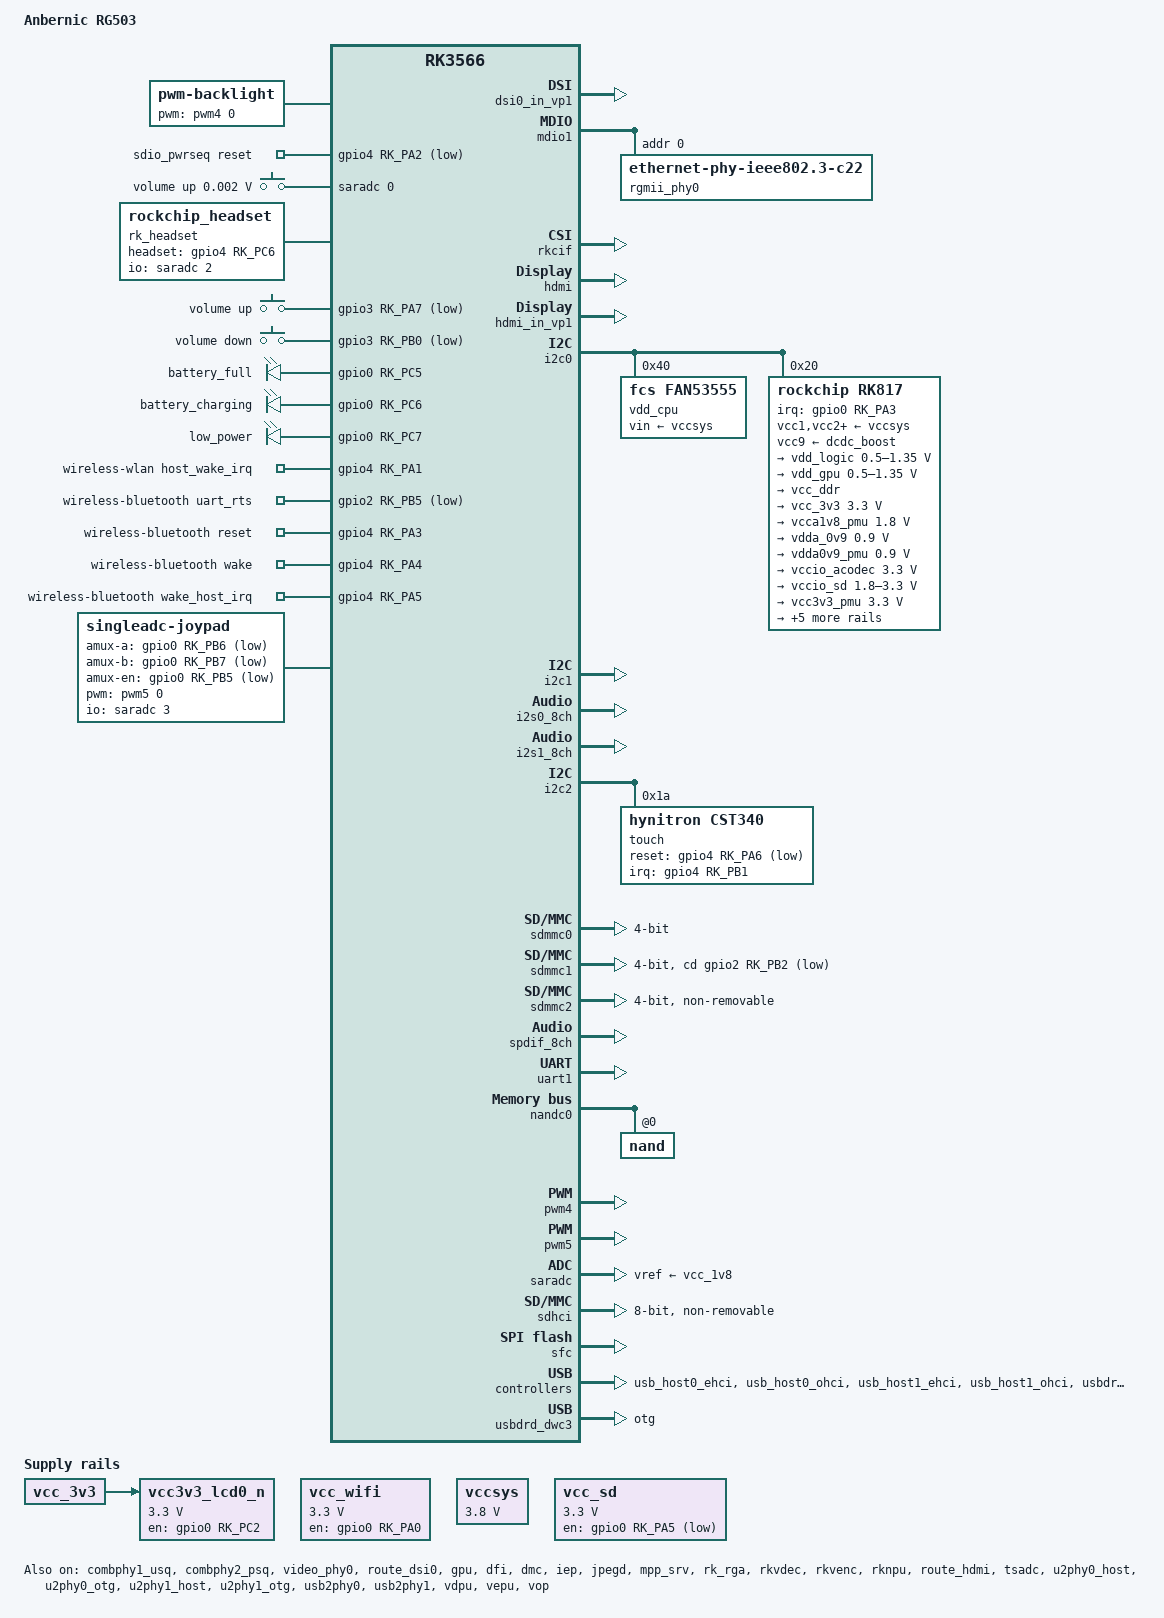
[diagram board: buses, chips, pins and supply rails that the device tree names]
// SPDX-License-Identifier: (GPL-2.0+ OR MIT)
/*
 * Copyright (c) 2020 Rockchip Electronics Co., Ltd.
 *
 */

/dts-v1/;
#include <dt-bindings/pwm/pwm.h>
#include <dt-bindings/input/rk-input.h>
#include <dt-bindings/display/drm_mipi_dsi.h>
#include <dt-bindings/sensor-dev.h>
#include <dt-bindings/gpio/gpio.h>
#include <dt-bindings/display/media-bus-format.h>
#include <dt-bindings/pinctrl/rockchip.h>
#include "rk3566.dtsi"
#include "rk3568-linux.dtsi"
/ {
	model = "Anbernic RG503";
	compatible = "anbernic,rg503", "rockchip,rk3566";

	audiopwmout_diff: audiopwmout-diff {
		status = "disabled";
		compatible = "simple-audio-card";
		simple-audio-card,format = "i2s";
		simple-audio-card,name = "rockchip,audiopwmout-diff";
		simple-audio-card,mclk-fs = <256>;
		simple-audio-card,bitclock-master = <&master>;
		simple-audio-card,frame-master = <&master>;
		simple-audio-card,cpu {
			sound-dai = <&i2s3_2ch>;
		};
		master: simple-audio-card,codec {
			sound-dai = <&dig_acodec>;
		};
	};

	backlight: backlight {
		compatible = "pwm-backlight";
		pwms = <&pwm4 0 25000 0>;
		brightness-levels = <
			  0  20  20  21  21  22  22  23
			 23  24  24  25  25  26  26  27
			 27  28  28  29  29  30  30  31
			 31  32  32  33  33  34  34  35
			 35  36  36  37  37  38  38  39
			 40  41  42  43  44  45  46  47
			 48  49  50  51  52  53  54  55
			 56  57  58  59  60  61  62  63
			 64  65  66  67  68  69  70  71
			 72  73  74  75  76  77  78  79
			 80  81  82  83  84  85  86  87
			 88  89  90  91  92  93  94  95
			 96  97  98  99 100 101 102 103
			104 105 106 107 108 109 110 111
			112 113 114 115 116 117 118 119
			120 121 122 123 124 125 126 127
			128 129 130 131 132 133 134 135
			136 137 138 139 140 141 142 143
			144 145 146 147 148 149 150 151
			152 153 154 155 156 157 158 159
			160 161 162 163 164 165 166 167
			168 169 170 171 172 173 174 175
			176 177 178 179 180 181 182 183
			184 185 186 187 188 189 190 191
			192 193 194 195 196 197 198 199
			200 201 202 203 204 205 206 207
			208 209 210 211 212 213 214 215
			216 217 218 219 220 221 222 223
			224 225 226 227 228 229 230 231
			232 233 234 235 236 237 238 239
			240 241 242 243 244 245 246 247
			248 249 250 251 252 253 254 255
		>;
		default-brightness-level = <200>;
	};

	charge-animation {
		compatible = "rockchip,uboot-charge";
		rockchip,uboot-charge-on = <1>; 
		rockchip,android-charge-on = <0>;
		rockchip,uboot-low-power-voltage = <3450>;
		rockchip,screen-on-voltage = <3400>;
		status = "okay";
	};

	hdmi_sound: hdmi-sound {
		compatible = "simple-audio-card";
		simple-audio-card,format = "i2s";
		simple-audio-card,mclk-fs = <128>;
		simple-audio-card,name = "rockchip,hdmi";
		//status = "disabled";
		status = "okay";

		simple-audio-card,cpu {
				sound-dai = <&i2s0_8ch>;
		};
		simple-audio-card,codec {
				sound-dai = <&hdmi>;
		};
	};

	pdmics: dummy-codec {
		status = "disabled";
		compatible = "rockchip,dummy-codec";
		#sound-dai-cells = <0>;
	};

	pdm_mic_array: pdm-mic-array {
		status = "disabled";
		compatible = "simple-audio-card";
		simple-audio-card,name = "rockchip,pdm-mic-array";
		simple-audio-card,cpu {
			sound-dai = <&pdm>;
		};
		simple-audio-card,codec {
			sound-dai = <&pdmics>;
		};
	};

	vcc_wifi: vcc-wifi {
		compatible = "regulator-gpio";
		enable-active-high;
		regulator-always-on;
		regulator-boot-on;		
		enable-gpio = <&gpio0 RK_PA0 GPIO_ACTIVE_HIGH>;
		regulator-min-microvolt = <3300000>;
		regulator-max-microvolt = <3300000>;
		states = <3300000 0x0
			3300000 0x1>;
		pinctrl-names = "default";
		pinctrl-0 = <&vcc_wifi_h>;
		regulator-name = "vcc_wifi";
	};

	rk817-sound {
		status = "okay";
		compatible = "simple-audio-card";
		simple-audio-card,format = "i2s";
		simple-audio-card,name = "rockchip,rk817-codec";
		simple-audio-card,mclk-fs = <256>;

		simple-audio-card,cpu {
			sound-dai = <&i2s1_8ch>;
		};
		simple-audio-card,codec {
			sound-dai = <&rk817_codec>;
		};
	};

	spdif-sound {
		status = "disabled";
		compatible = "simple-audio-card";
		simple-audio-card,name = "ROCKCHIP,SPDIF";
		simple-audio-card,cpu {
				sound-dai = <&spdif_8ch>;
		};
		simple-audio-card,codec {
				sound-dai = <&spdif_out>;
		};
	};

	spdif_out: spdif-out {
			status = "disabled";
			compatible = "linux,spdif-dit";
			#sound-dai-cells = <0>;
	};

	vad_sound: vad-sound {
		status = "disabled";
		compatible = "rockchip,multicodecs-card";
		rockchip,card-name = "rockchip,rk3568-vad";
		rockchip,cpu = <&i2s1_8ch>;
		rockchip,codec = <&rk817_codec>, <&vad>;
	};

	vccsys: vccsys {
		compatible = "regulator-fixed";
		regulator-name = "vcc3v8_sys";
		regulator-always-on;
		regulator-boot-on;
		regulator-min-microvolt = <3800000>;
		regulator-max-microvolt = <3800000>;
	};

	vcc3v3_lcd0_n: vcc3v3-lcd0-n {
		compatible = "regulator-fixed";
		regulator-name = "vcc3v3_lcd0_n";
		regulator-boot-on;
		regulator-min-microvolt = <3300000>;
		regulator-max-microvolt = <3300000>;
		enable-active-high;
		gpio = <&gpio0 RK_PC2 GPIO_ACTIVE_HIGH>;
		vin-supply = <&vcc_3v3>;

		regulator-state-mem {
			regulator-off-in-suspend;
		};
	};

	sdio_pwrseq: sdio-pwrseq {
		status = "okay";
		compatible = "mmc-pwrseq-simple";
		clocks = <&rk817 1>;
		clock-names = "ext_clock";
		pinctrl-names = "default";
		pinctrl-0 = <&wifi_enable_h>;

		/*
		 * On the module itself this is one of these (depending
		 * on the actual card populated):
		 * - SDIO_RESET_L_WL_REG_ON
		 * - PDN (power down when low)
		 */
		post-power-on-delay-ms = <200>;
		reset-gpios = <&gpio4 RK_PA2 GPIO_ACTIVE_LOW>;
	};

	vcc_sd: vcc-sd {
		status = "okay";
		compatible = "regulator-gpio";
		enable-active-low;
		enable-gpio = <&gpio0 RK_PA5 GPIO_ACTIVE_LOW>;
		regulator-min-microvolt = <3300000>;
		regulator-max-microvolt = <3300000>;
		pinctrl-names = "default";
		pinctrl-0 = <&vcc_sd_h>;
		regulator-name = "vcc_sd";
		states = <3300000 0x0
			3300000 0x1>;
	};

	adc_keys: adc-keys {
		compatible = "adc-keys";
		io-channels = <&saradc 0>;
		io-channel-names = "buttons";
		keyup-threshold-microvolt = <1800000>;
		poll-interval = <100>;

		vol-up-key {
			label = "volume up";
			linux,code = <BTN_MODE>;
			press-threshold-microvolt = <1750>;
		};
	};

	rk_headset: rk-headset {
		compatible = "rockchip_headset";
		headset_gpio = <&gpio4 RK_PC6 GPIO_ACTIVE_HIGH>;
		pinctrl-names = "default";
		pinctrl-0 = <&hp_det>;
		io-channels = <&saradc 2>;
	};

/*	vibrator {
		compatible = "rk-vibrator-gpio";
		vibrator-gpio = <&gpio0 RK_PC4 GPIO_ACTIVE_LOW>;
		status = "okay";
	};*/

	keys: gpio-keys {
		compatible = "gpio-keys";
		pinctrl-names = "default";
		pinctrl-0 = <&pwr_key>;
		autorepeat;
		vol-up-key {
			gpios = <&gpio3 RK_PA7 GPIO_ACTIVE_LOW>;
			linux,code = <115>;
			label = "volume up";
		};

		vol-down-key {
			gpios = <&gpio3 RK_PB0 GPIO_ACTIVE_LOW>;
			linux,code = <114>;
			label = "volume down";
		};

/*		power-key {
			wakeup-source;
			gpios = <&gpio0 5 GPIO_ACTIVE_LOW>;
			linux,code = <116>;
			label = "power";
		};
*/							
			
	};

        leds: gpio-leds {
                compatible = "gpio-leds";
                pinctrl-names = "default";
                pinctrl-0 =<&leds_gpio>;

                led@1 {
                        gpios = <&gpio0 RK_PC5 GPIO_ACTIVE_HIGH>;
                        label = "battery_full";
			default-state="on";
			retain-state-suspended;
                };

                led@2 {
                        gpios = <&gpio0 RK_PC6 GPIO_ACTIVE_HIGH>;
                        label = "battery_charging";
                        retain-state-suspended;
                };
				
                led@3 {
                        gpios = <&gpio0 RK_PC7 GPIO_ACTIVE_HIGH>;
                        label = "low_power";
			default-state="off";
			retain-state-suspended;
                };			
	};

	wireless-wlan {
		compatible = "wlan-platdata";
		rockchip,grf = <&grf>;
		wifi_chip_type = "ap6330";
		pinctrl-names = "default";
		pinctrl-0 = <&wifi_host_wake_irq>;
		WIFI,host_wake_irq = <&gpio4 RK_PA1 GPIO_ACTIVE_HIGH>;
		//WIFI,poweren_gpio = <&gpio0 RK_PA0 GPIO_ACTIVE_HIGH>; /* GPIO0_a3 */
		keep_wifi_power_on;		
		status = "okay";
	};

	wireless-bluetooth {
		compatible = "bluetooth-platdata";
		clocks = <&rk817 1>;
		clock-names = "ext_clock";
		//wifi-bt-power-toggle;
		uart_rts_gpios = <&gpio2 RK_PB5 GPIO_ACTIVE_LOW>;
		pinctrl-names = "default", "rts_gpio";
		pinctrl-0 = <&uart1m1_rtsn>;
		pinctrl-1 = <&uart1_gpios>;
		BT,reset_gpio    = <&gpio4 RK_PA3 GPIO_ACTIVE_HIGH>;
		BT,wake_gpio     = <&gpio4 RK_PA4 GPIO_ACTIVE_HIGH>;
		BT,wake_host_irq = <&gpio4 RK_PA5 GPIO_ACTIVE_HIGH>;
		status = "okay";
	};
	
	joypad: singleadc-joypad {
		compatible = "singleadc-joypad";

		joypad-name = "retrogame_joypad";
		joypad-product = <0x1101>;
		joypad-revision = <0x0100>;

		status = "okay";

		/* rumble */
		pwms = <&pwm5 0 10000 0>;

		/* gpio pincontrol setup */
		pinctrl-names = "default";
		pinctrl-0 = <&btn_pins>;

		/* Analog mux define */
		io-channel-names = "amux_adc";
		io-channels = <&saradc 3>;

		/* adc mux channel count */
		amux-count = <4>;
		/* adc mux select(a,b) gpio */
		amux-a-gpios = <&gpio0 RK_PB6 GPIO_ACTIVE_LOW>;
		amux-b-gpios = <&gpio0 RK_PB7 GPIO_ACTIVE_LOW>;
		/* adc mux enable gpio */
		amux-en-gpios = <&gpio0 RK_PB5 GPIO_ACTIVE_LOW>;

		/* adc calculate scale */
		button-adc-scale = <2>;

		/* adc deadzone range  */
		button-adc-deadzone = <48>;

		/*
		  specifies fuzz value that is used to filter noise from
		  the event stream.
		*/
		button-adc-fuzz = <16>;
		button-adc-flat = <16>;

		/*
		  Analog Stick data tuning value(precent)
		  p = positive direction, n = negative direction
		  report value = (real_adc_data * tuning_value) / 100
		*/
		abs_x-p-tuning = <250>;
		abs_x-n-tuning = <250>;

		abs_y-p-tuning = <250>;
		abs_y-n-tuning = <250>;

		abs_rx-p-tuning = <250>;
		abs_rx-n-tuning = <250>;

		abs_ry-p-tuning = <250>;
		abs_ry-n-tuning = <250>;

		/* poll device interval (ms), adc read interval */
		poll-interval = <10>;

		/* gpio button auto repeat set value : default disable */
		/*
			autorepeat;
		*/
		sw1 {
		        gpios = <&gpio3 RK_PA3 GPIO_ACTIVE_LOW>;
		        label = "GPIO DPAD-UP";
		        linux,code = <BTN_DPAD_UP>;
		};
		sw2 {
		        gpios = <&gpio3 RK_PA4 GPIO_ACTIVE_LOW>;
		        label = "GPIO DPAD-DOWN";
		        linux,code = <BTN_DPAD_DOWN>;
		};
		sw3 {
		        gpios = <&gpio3 RK_PA6 GPIO_ACTIVE_LOW>;
		        label = "GPIO DPAD-LEFT";
		        linux,code = <BTN_DPAD_LEFT>;
		};
		sw4 {
		        gpios = <&gpio3 RK_PA5 GPIO_ACTIVE_LOW>;
		        label = "GPIO DPAD-RIGHT";
		        linux,code = <BTN_DPAD_RIGHT>;
		};
		sw5 {
		        gpios = <&gpio3 RK_PC3 GPIO_ACTIVE_LOW>;
		        label = "GPIO KEY BTN-A";
		        linux,code = <BTN_SOUTH>;
		};
		sw6 {
		        gpios = <&gpio3 RK_PC2 GPIO_ACTIVE_LOW>;
		        label = "GPIO BTN-B";
		        linux,code = <BTN_EAST>;
		};
		sw7 {
		        gpios = <&gpio3 RK_PC0 GPIO_ACTIVE_LOW>;
		        label = "GPIO BTN-X";
		        linux,code = <BTN_NORTH>;
		};
		sw8 {
		        gpios = <&gpio3 RK_PC1 GPIO_ACTIVE_LOW>;
		        label = "GPIO BTN-Y";
		        linux,code = <BTN_WEST>;
		};
		sw9 {
		        gpios = <&gpio3 RK_PB6 GPIO_ACTIVE_LOW>;
		        label = "GPIO BTN_SELECT";
		        linux,code = <BTN_SELECT>;
		};
		sw10 {
		        gpios = <&gpio3 RK_PB5 GPIO_ACTIVE_LOW>;
		        label = "GPIO BTN_START";
		        linux,code = <BTN_START>;
		};
		sw11 {
		        gpios = <&gpio3 RK_PB7 GPIO_ACTIVE_LOW>;
		        label = "GPIO BTN_F";
		        linux,code = <BTN_MODE>;
		};
		sw12 {
		        gpios = <&gpio3 RK_PB1 GPIO_ACTIVE_LOW>;
		        label = "GPIO BTN_TL";
		        linux,code = <BTN_TL>;
		};
		sw13 {
		        gpios = <&gpio3 RK_PB3 GPIO_ACTIVE_LOW>;
		        label = "GPIO BTN_TR";
		        linux,code = <BTN_TR>;
		};
		sw14 {
		        gpios = <&gpio3 RK_PB2 GPIO_ACTIVE_LOW>;
		        label = "GPIO BTN_TL2";
		        linux,code = <BTN_TL2>;
		};
		sw15 {
		        gpios = <&gpio3 RK_PB4 GPIO_ACTIVE_LOW>;
		        label = "GPIO BTN_TR2";
		        linux,code = <BTN_TR2>;
		};
		sw16 {
		        gpios = <&gpio3 RK_PA1 GPIO_ACTIVE_LOW>;
		        label = "GPIO BTN_THUMBL";
		        linux,code = <BTN_THUMBL>;
		};
		sw17 {
		        gpios = <&gpio3 RK_PA2 GPIO_ACTIVE_LOW>;
		        label = "GPIO BTN_THUMBR";
		        linux,code = <BTN_THUMBR>;
		};
	
    	};

	es8316-sound {
		status = "disabled";
		compatible = "simple-audio-card";
		simple-audio-card,format = "i2s";
		simple-audio-card,name = "ES8316";
		simple-audio-card,mclk-fs = <256>;
		simple-audio-card,widgets =
			"Microphone", "Mic Jack",
			"Headphone", "Headphone Jack";
		simple-audio-card,routing =
			"Mic Jack", "MICBIAS1",
			"IN1P", "Mic Jack",
			"Headphone Jack", "HPOL",
			"Headphone Jack", "HPOR";
		simple-audio-card,cpu {
			sound-dai = <&i2s1_8ch>;
			system-clock-frequency = <11289600>;
		};
		simple-audio-card,codec {
			sound-dai = <&es8316>;
			system-clock-frequency = <11289600>;
		};
	};
};

&combphy1_usq {
	status = "okay";
};

&combphy2_psq {
	status = "okay";
};

&csi2_dphy_hw {
	status = "disabled";
};

&csi2_dphy0 {
	status = "disabled";
};

&csi2_dphy1 {
	status = "disabled";
};

&csi2_dphy2 {
	status = "disabled";
};

/*
 * mipi_dphy0 needs to be enabled
 * when dsi0 is enabled
 */
//&mipi_dphy0 {
    //status = "okay";
//};

&dsi0 {
	status = "disabled";
	//rockchip,lane-rate = <1000>;
	dsi0_panel: panel@0 {
		status = "okay";
		compatible = "simple-panel-dsi";
		reg = <0>;
		backlight = <&backlight>;
		reset-delay-ms = <60>;
		enable-delay-ms = <60>;
		prepare-delay-ms = <60>;
		unprepare-delay-ms = <60>;
		disable-delay-ms = <60>;
		dsi,flags = <(MIPI_DSI_MODE_VIDEO | MIPI_DSI_MODE_VIDEO_BURST |
			MIPI_DSI_MODE_LPM | MIPI_DSI_MODE_EOT_PACKET)>;
		dsi,format = <MIPI_DSI_FMT_RGB888>;
		dsi,lanes  = <4>;
		panel-init-sequence = [
			23 00 02 FE 21
			23 00 02 04 00
			23 00 02 00 64
			23 00 02 2A 00
			23 00 02 26 64
			23 00 02 54 00
			23 00 02 50 64
			23 00 02 7B 00
			23 00 02 77 64
			23 00 02 A2 00
			23 00 02 9D 64
			23 00 02 C9 00
			23 00 02 C5 64
			23 00 02 01 71
			23 00 02 27 71
			23 00 02 51 71
			23 00 02 78 71
			23 00 02 9E 71
			23 00 02 C6 71
			23 00 02 02 89
			23 00 02 28 89
			23 00 02 52 89
			23 00 02 79 89
			23 00 02 9F 89
			23 00 02 C7 89
			23 00 02 03 9E
			23 00 02 29 9E
			23 00 02 53 9E
			23 00 02 7A 9E
			23 00 02 A0 9E
			23 00 02 C8 9E
			23 00 02 09 00
			23 00 02 05 B0
			23 00 02 31 00
			23 00 02 2B B0
			23 00 02 5A 00
			23 00 02 55 B0
			23 00 02 80 00
			23 00 02 7C B0
			23 00 02 A7 00
			23 00 02 A3 B0
			23 00 02 CE 00
			23 00 02 CA B0
			23 00 02 06 C0
			23 00 02 2D C0
			23 00 02 56 C0
			23 00 02 7D C0
			23 00 02 A4 C0
			23 00 02 CB C0
			23 00 02 07 CF
			23 00 02 2F CF
			23 00 02 58 CF
			23 00 02 7E CF
			23 00 02 A5 CF
			23 00 02 CC CF
			23 00 02 08 DD
			23 00 02 30 DD
			23 00 02 59 DD
			23 00 02 7F DD
			23 00 02 A6 DD
			23 00 02 CD DD
			23 00 02 0E 15
			23 00 02 0A E9
			23 00 02 36 15
			23 00 02 32 E9
			23 00 02 5F 15
			23 00 02 5B E9
			23 00 02 85 15
			23 00 02 81 E9
			23 00 02 AD 15
			23 00 02 A9 E9
			23 00 02 D3 15
			23 00 02 CF E9
			23 00 02 0B 14
			23 00 02 33 14
			23 00 02 5C 14
			23 00 02 82 14
			23 00 02 AA 14
			23 00 02 D0 14
			23 00 02 0C 36
			23 00 02 34 36
			23 00 02 5D 36
			23 00 02 83 36
			23 00 02 AB 36
			23 00 02 D1 36
			23 00 02 0D 6B
			23 00 02 35 6B
			23 00 02 5E 6B
			23 00 02 84 6B
			23 00 02 AC 6B
			23 00 02 D2 6B
			23 00 02 13 5A
			23 00 02 0F 94
			23 00 02 3B 5A
			23 00 02 37 94
			23 00 02 64 5A
			23 00 02 60 94
			23 00 02 8A 5A
			23 00 02 86 94
			23 00 02 B2 5A
			23 00 02 AE 94
			23 00 02 D8 5A
			23 00 02 D4 94
			23 00 02 10 D1
			23 00 02 38 D1
			23 00 02 61 D1
			23 00 02 87 D1
			23 00 02 AF D1
			23 00 02 D5 D1
			23 00 02 11 04
			23 00 02 39 04
			23 00 02 62 04
			23 00 02 88 04
			23 00 02 B0 04
			23 00 02 D6 04
			23 00 02 12 05
			23 00 02 3A 05
			23 00 02 63 05
			23 00 02 89 05
			23 00 02 B1 05
			23 00 02 D7 05
			23 00 02 18 AA
			23 00 02 14 36
			23 00 02 42 AA
			23 00 02 3D 36
			23 00 02 69 AA
			23 00 02 65 36
			23 00 02 8F AA
			23 00 02 8B 36
			23 00 02 B7 AA
			23 00 02 B3 36
			23 00 02 DD AA
			23 00 02 D9 36
			23 00 02 15 74
			23 00 02 3F 74
			23 00 02 66 74
			23 00 02 8C 74
			23 00 02 B4 74
			23 00 02 DA 74
			23 00 02 16 9F
			23 00 02 40 9F
			23 00 02 67 9F
			23 00 02 8D 9F
			23 00 02 B5 9F
			23 00 02 DB 9F
			23 00 02 17 DC
			23 00 02 41 DC
			23 00 02 68 DC
			23 00 02 8E DC
			23 00 02 B6 DC
			23 00 02 DC DC
			23 00 02 1D FF
			23 00 02 19 03
			23 00 02 47 FF
			23 00 02 43 03
			23 00 02 6E FF
			23 00 02 6A 03
			23 00 02 94 FF
			23 00 02 90 03
			23 00 02 BC FF
			23 00 02 B8 03
			23 00 02 E2 FF
			23 00 02 DE 03
			23 00 02 1A 35
			23 00 02 44 35
			23 00 02 6B 35
			23 00 02 91 35
			23 00 02 B9 35
			23 00 02 DF 35
			23 00 02 1B 45
			23 00 02 45 45
			23 00 02 6C 45
			23 00 02 92 45
			23 00 02 BA 45
			23 00 02 E0 45
			23 00 02 1C 55
			23 00 02 46 55
			23 00 02 6D 55
			23 00 02 93 55
			23 00 02 BB 55
			23 00 02 E1 55
			23 00 02 22 FF
			23 00 02 1E 68
			23 00 02 4C FF
			23 00 02 48 68
			23 00 02 73 FF
			23 00 02 6F 68
			23 00 02 99 FF
			23 00 02 95 68
			23 00 02 C1 FF
			23 00 02 BD 68
			23 00 02 E7 FF
			23 00 02 E3 68
			23 00 02 1F 7E
			23 00 02 49 7E
			23 00 02 70 7E
			23 00 02 96 7E
			23 00 02 BE 7E
			23 00 02 E4 7E
			23 00 02 20 97
			23 00 02 4A 97
			23 00 02 71 97
			23 00 02 97 97
			23 00 02 BF 97
			23 00 02 E5 97
			23 00 02 21 B5
			23 00 02 4B B5
			23 00 02 72 B5
			23 00 02 98 B5
			23 00 02 C0 B5
			23 00 02 E6 B5
			23 00 02 25 F0
			23 00 02 23 E8
			23 00 02 4F F0
			23 00 02 4D E8
			23 00 02 76 F0
			23 00 02 74 E8
			23 00 02 9C F0
			23 00 02 9A E8
			23 00 02 C4 F0
			23 00 02 C2 E8
			23 00 02 EA F0
			23 00 02 E8 E8
			23 00 02 24 FF
			23 00 02 4E FF
			23 00 02 75 FF
			23 00 02 9B FF
			23 00 02 C3 FF
			23 00 02 E9 FF
			23 00 02 FE 3D
			23 00 02 00 04
			23 00 02 FE 23
			23 00 02 08 82
			23 00 02 0A 00
			23 00 02 0B 00
			23 00 02 0C 01
			23 00 02 16 00
			23 00 02 18 02
			23 00 02 1B 04
			23 00 02 19 04
			23 00 02 1C 81
			23 00 02 1F 00
			23 00 02 20 03
			23 00 02 23 04
			23 00 02 21 01
			23 00 02 54 63
			23 00 02 55 54
			23 00 02 6E 45
			23 00 02 6D 36
			23 00 02 FE 3D
			23 00 02 55 78
			23 00 02 FE 20
			23 00 02 26 30
			23 00 02 FE 3D
			23 00 02 20 71
			23 00 02 50 8F
			23 00 02 51 8F
			23 00 02 FE 00
			23 00 02 35 00
			05 78 01 11
			05 1E 01 29
		];

		panel-exit-sequence = [
			05 00 01 28
			05 00 01 10
		];

		disp_timings0: display-timings {
			native-mode = <&dsi0_timing0>;
			dsi0_timing0: timing0 {
				clock-frequency = <132000000>;
				hactive = <1080>;
				vactive = <1920>;
				hfront-porch = <15>;
				hsync-len = <2>;
				hback-porch = <30>;
				vfront-porch = <15>;
				vsync-len = <2>;
				vback-porch = <15>;
				hsync-active = <0>;
				vsync-active = <0>;
				de-active = <0>;
				pixelclk-active = <1>;
			};
		};

		ports {
			#address-cells = <1>;
			#size-cells = <0>;

			port@0 {
				reg = <0>;
				panel_in_dsi: endpoint {
					remote-endpoint = <&dsi_out_panel>;
				};
			};
		};
	};

	ports {
		#address-cells = <1>;
		#size-cells = <0>;

		port@1 {
			reg = <1>;
			dsi_out_panel: endpoint {
				remote-endpoint = <&panel_in_dsi>;
			};
		};
	};

};

&dsi0_in_vp0 {
	status = "disabled";
};

&dsi0_in_vp1 {
	status = "okay";
};

&dsi0_panel {
	power-supply = <&vcc3v3_lcd0_n>;
	reset-gpios = <&gpio4 RK_PA0 GPIO_ACTIVE_LOW>;
	pinctrl-names = "default";
	pinctrl-0 = <&lcd0_rst_gpio>;
};

/*
 * mipi_dphy1 needs to be enabled
 * when dsi1 is enabled
 */
&dsi1 {
	status = "disabled";
};

&dsi1_in_vp0 {
	status = "disabled";
};

&dsi1_in_vp1 {
	status = "disabled";
};

&mdio1 {
	rgmii_phy0: phy@0 {
		compatible = "ethernet-phy-ieee802.3-c22";
		reg = <0x0>;
	};
};

&video_phy0 {
	status = "okay";
};

&video_phy1 {
	status = "disabled";
};

&rkcif {
	status = "okay";
};

&rkcif_dvp {
	status = "disabled";

	port {
		/* Parallel bus endpoint */
		dvp_in_bcam: endpoint {
			remote-endpoint = <&gc2145_out>;
			bus-width = <8>;
			vsync-active = <0>;
			hsync-active = <1>;
		};
	};
};

&route_dsi0 {
	status = "okay";
	connect = <&vp1_out_dsi0>;
};

&gpu {
	mali-supply = <&vdd_gpu>;
	status = "okay";
};

&hdmi {
	status = "okay";
	//status = "disabled";
	rockchip,phy-table =
		<92812500  0x8009 0x0000 0x0270>,
		<165000000 0x800b 0x0000 0x026d>,
		<185625000 0x800b 0x0000 0x01ed>,
		<297000000 0x800b 0x0000 0x01ad>,
		<594000000 0x8029 0x0000 0x0088>,
		<000000000 0x0000 0x0000 0x0000>;
};

&hdmi_in_vp0 {
	status = "disabled";
	//status = "disabled";
};

&hdmi_in_vp1 {
	status = "okay";
};

&hdmi_sound {
	status = "okay";
	//status = "disabled";
};

&i2c0 {
	status = "okay";

	/*cw2015@62 { 
	  compatible = "cellwise,cw2015";
	  reg = <0x62>;
	 };*/

	vdd_cpu: regulator@40 {
		compatible = "fcs,fan53555";
		reg = <0x40>;
		vin-supply = <&vccsys>;
		regulator-compatible = "fan53555-reg";
		regulator-name = "vdd_cpu";
		regulator-min-microvolt = <712500>;
		regulator-max-microvolt = <1390000>;
		regulator-init-microvolt = <900000>;
		regulator-ramp-delay = <2300>;
		fcs,suspend-voltage-selector = <1>;
		regulator-boot-on;
		regulator-always-on;
		regulator-state-mem {
			regulator-off-in-suspend;
		};
	};

	rk817: pmic@20 {
		compatible = "rockchip,rk817";
		reg = <0x20>;
		interrupt-parent = <&gpio0>;
		interrupts = <RK_PA3 IRQ_TYPE_LEVEL_LOW>;

		pinctrl-names = "default", "pmic-sleep",
				"pmic-power-off", "pmic-reset";
		pinctrl-0 = <&pmic_int>;
		pinctrl-1 = <&soc_slppin_slp>, <&rk817_slppin_slp>;
		pinctrl-2 = <&soc_slppin_gpio>, <&rk817_slppin_pwrdn>;
		pinctrl-3 = <&soc_slppin_gpio>, <&rk817_slppin_rst>;

		rockchip,system-power-controller;
		wakeup-source;
		#clock-cells = <1>;
		clock-output-names = "rk808-clkout1", "rk808-clkout2";
		//fb-inner-reg-idxs = <2>;
		/* 1: rst regs (default in codes), 0: rst the pmic */
		pmic-reset-func = <0>;
		/* not save the PMIC_POWER_EN register in uboot */
		not-save-power-en = <1>;

		vcc1-supply = <&vccsys>;
		vcc2-supply = <&vccsys>;
		vcc3-supply = <&vccsys>;
		vcc4-supply = <&vccsys>;
		vcc5-supply = <&vccsys>;
		vcc6-supply = <&vccsys>;
		vcc7-supply = <&vccsys>;
		vcc8-supply = <&vccsys>;
		vcc9-supply = <&dcdc_boost>;

		pwrkey {
			status = "okay";
		};

		pinctrl_rk8xx: pinctrl_rk8xx {
			gpio-controller;
			#gpio-cells = <2>;

			rk817_slppin_null: rk817_slppin_null {
				pins = "gpio_slp";
				function = "pin_fun0";
			};

			rk817_slppin_slp: rk817_slppin_slp {
				pins = "gpio_slp";
				function = "pin_fun1";
			};

			rk817_slppin_pwrdn: rk817_slppin_pwrdn {
				pins = "gpio_slp";
				function = "pin_fun2";
			};

			rk817_slppin_rst: rk817_slppin_rst {
				pins = "gpio_slp";
				function = "pin_fun3";
			};
		};

		regulators {
			vdd_logic: DCDC_REG1 {
				regulator-always-on;
				regulator-boot-on;
				regulator-min-microvolt = <500000>;
				regulator-max-microvolt = <1350000>;
				regulator-init-microvolt = <900000>;
				regulator-ramp-delay = <6001>;
				regulator-initial-mode = <0x2>;
				regulator-name = "vdd_logic";
				regulator-state-mem {
					regulator-off-in-suspend;
					regulator-suspend-microvolt = <900000>;
				};
			};

			vdd_gpu: DCDC_REG2 {
				regulator-always-on;
				regulator-boot-on;
				regulator-min-microvolt = <500000>;
				regulator-max-microvolt = <1350000>;
				regulator-init-microvolt = <900000>;
				regulator-ramp-delay = <6001>;
				regulator-initial-mode = <0x2>;
				regulator-name = "vdd_gpu";
				regulator-state-mem {
					regulator-off-in-suspend;
				};
			};

			vcc_ddr: DCDC_REG3 {
				regulator-always-on;
				regulator-boot-on;
				regulator-initial-mode = <0x2>;
				regulator-name = "vcc_ddr";
				regulator-state-mem {
					regulator-on-in-suspend;
				};
			};

			vcc_3v3: DCDC_REG4 {
				regulator-always-on;
				regulator-boot-on;
				regulator-min-microvolt = <3300000>;
				regulator-max-microvolt = <3300000>;
				regulator-initial-mode = <0x2>;
				regulator-name = "vcc_3v3";
				regulator-state-mem {
					regulator-on-in-suspend;
					regulator-suspend-microvolt = <3300000>;
				};
			};

			vcca1v8_pmu: LDO_REG1 {
				regulator-always-on;
				regulator-boot-on;
				regulator-min-microvolt = <1800000>;
				regulator-max-microvolt = <1800000>;
				regulator-name = "vcca1v8_pmu";
				regulator-state-mem {
					regulator-on-in-suspend;
					regulator-suspend-microvolt = <1800000>;
				};
			};

			vdda_0v9: LDO_REG2 {
				regulator-always-on;
				regulator-boot-on;
				regulator-min-microvolt = <900000>;
				regulator-max-microvolt = <900000>;
				regulator-name = "vdda_0v9";
				regulator-state-mem {
					regulator-off-in-suspend;
				};
			};

			vdda0v9_pmu: LDO_REG3 {
				regulator-always-on;
				regulator-boot-on;
				regulator-min-microvolt = <900000>;
				regulator-max-microvolt = <900000>;
				regulator-name = "vdda0v9_pmu";
				regulator-state-mem {
					regulator-on-in-suspend;
					regulator-suspend-microvolt = <900000>;
				};
			};

			vccio_acodec: LDO_REG4 {
				regulator-always-on;
				regulator-boot-on;
				regulator-min-microvolt = <3300000>;
				regulator-max-microvolt = <3300000>;
				regulator-name = "vccio_acodec";
				regulator-state-mem {
					regulator-off-in-suspend;
				};
			};

			vccio_sd: LDO_REG5 {
				regulator-always-on;
				regulator-boot-on;
				regulator-min-microvolt = <1800000>;
				regulator-max-microvolt = <3300000>;
				regulator-name = "vccio_sd";
				regulator-state-mem {
					regulator-off-in-suspend;
				};
			};

			vcc3v3_pmu: LDO_REG6 {
				regulator-always-on;
				regulator-boot-on;
				regulator-min-microvolt = <3300000>;
				regulator-max-microvolt = <3300000>;
				regulator-name = "vcc3v3_pmu";
				regulator-state-mem {
					regulator-on-in-suspend;
					regulator-suspend-microvolt = <3000000>;
				};
			};

			vcc_1v8: LDO_REG7 {
				regulator-always-on;
				regulator-boot-on;
				regulator-min-microvolt = <1800000>;
				regulator-max-microvolt = <1800000>;
				regulator-name = "vcc_1v8";
				regulator-state-mem {
					regulator-off-in-suspend;
				};
			};

			vcc1v8_dvp: LDO_REG8 {
				regulator-always-on;
				regulator-boot-on;
				regulator-min-microvolt = <1800000>;
				regulator-max-microvolt = <3300000>;
				regulator-name = "vcc1v8_dvp";
				regulator-state-mem {
					regulator-off-in-suspend;
				};
			};

			vcc2v8_dvp: LDO_REG9 {
				regulator-always-on;
				regulator-boot-on;
				regulator-min-microvolt = <2800000>;
				regulator-max-microvolt = <2800000>;
				regulator-name = "vcc2v8_dvp";
				regulator-state-mem {
					regulator-off-in-suspend;
				};
			};

			dcdc_boost: BOOST {
				regulator-always-on;
				regulator-boot-on;
				regulator-min-microvolt = <4700000>;
				regulator-max-microvolt = <5400000>;
				regulator-name = "boost";
				regulator-state-mem {
					regulator-off-in-suspend;
				};
			};

			otg_switch: OTG_SWITCH {
				regulator-name = "otg_switch";
				regulator-state-mem {
					regulator-off-in-suspend;
				};
			};

		};

		battery {
		   compatible = "rk817,battery";
		   ocv_table = <3400 3438 3479 3519 3550 3578 3598
				3613 3629 3647 3672 3713 3762 3807
				3852 3895 3939 3990 4035 4092 4172>;
		   design_capacity = <3151>;
		   design_qmax = <3465>;
		   bat_res = <117>;
		   sleep_enter_current = <300>;
		   sleep_exit_current = <300>;
		   sleep_filter_current = <100>;
		   power_off_thresd = <3400>;
		   zero_algorithm_vol = <3850>;
		   max_soc_offset = <60>;
		   monitor_sec = <5>;
		   sample_res = <10>;
		   virtual_power = <0>;
		};

		charger {
			compatible = "rk817,charger";
			min_input_voltage = <4500>;
			max_input_current = <1500>;
			max_chrg_current = <2000>;
			max_chrg_voltage = <4250>;
			chrg_term_mode = <0>;
			chrg_finish_cur = <300>;
			virtual_power = <0>;
			dc_det_adc = <0>;
			extcon = <&usb2phy0>;
		};

		rk817_codec: codec {
			#sound-dai-cells = <0>;
			compatible = "rockchip,rk817-codec";
			clocks = <&cru I2S1_MCLKOUT>;
			clock-names = "mclk";
			assigned-clocks = <&cru I2S1_MCLKOUT>, <&cru I2S1_MCLK_TX_IOE>;
			assigned-clock-rates = <12288000>;
			assigned-clock-parents = <&cru I2S1_MCLKOUT_TX>, <&cru I2S1_MCLKOUT_TX>;
			pinctrl-names = "default";
			pinctrl-0 = <&i2s1m0_mclk>;
			hp-volume = <20>;
			spk-volume = <3>;
			out-l2spk-r2hp;
			
			spk-ctl-gpios = <&gpio4 RK_PC2 GPIO_ACTIVE_HIGH>;
			status = "okay";
		};
	};
	es8316: es8316@10 {
	        status = "disabled";
		#sound-dai-cells = <0>;
		compatible = "everest,es8316";
		reg = <0x10>;
		clocks = <&cru I2S1_MCLKOUT>;
		clock-names = "mclk";
		assigned-clocks = <&cru I2S1_MCLKOUT>, <&cru I2S1_MCLK_TX_IOE>;
		assigned-clock-rates = <11289600>;
		assigned-clock-parents = <&cru I2S1_MCLKOUT_TX>, <&cru I2S1_MCLKOUT_TX>;
		pinctrl-names = "default";
		pinctrl-0 = <&i2s1m0_mclk>;
		hp-det-gpio = <&gpio4 RK_PC6 GPIO_ACTIVE_HIGH>;		
		spk-con-gpio = <&gpio4 RK_PC2 GPIO_ACTIVE_HIGH>;
	};
};

&i2c1 {
	status = "okay";
};

&i2c5 {
	status = "disabled";
};

&i2s0_8ch {
	status = "okay";
};

&i2s1_8ch {
	status = "okay";
	rockchip,clk-trcm = <1>;
	pinctrl-names = "default";
	pinctrl-0 = <&i2s1m0_sclktx
		     &i2s1m0_lrcktx
		     &i2s1m0_sdi0
		     &i2s1m0_sdo0>;
};

/*&i2c2 {
 status = "okay";
 pinctrl-0 = <&i2c2m1_xfer>;
};*/

&i2c2 {
	pintctrl-names = "default";
	pinctrl-0 = <&i2c2m1_xfer>;
	status = "okay";

	touch@1a {
		compatible = "hynitron,cst340";
		reg = <0x1a>;
		interrupt-parent = <&gpio4>;
		interrupts = <RK_PB1 IRQ_TYPE_EDGE_FALLING>;
		pinctrl-0 = <&touch_gpio>;
		pinctrl-names = "default";
		reset-gpios = <&gpio4 RK_PA6 GPIO_ACTIVE_LOW>;
		touchscreen-size-x = <640>;
		touchscreen-size-y = <480>;
	};
};

&i2c4 {
	/* i2c4 sda conflict with camera pwdn */
	status = "disabled";

	/*
	 * gc2145 needs to be disabled,
	 * when gmac1 is enabled;
	 * pinctrl conflicts;
	 */
	gc2145: gc2145@3c {
		status = "disabled";
		compatible = "galaxycore,gc2145";
		reg = <0x3c>;
		clocks = <&cru CLK_CIF_OUT>;
		clock-names = "xvclk";
		power-domains = <&power RK3568_PD_VI>;
		pinctrl-names = "default";
		/* conflict with gmac1m1_rgmii_pins & cif_clk*/
		pinctrl-0 = <&cif_clk &cif_dvp_clk &cif_dvp_bus16>;

		/*avdd-supply = <&vcc2v8_dvp>;*/
		/*dovdd-supply = <&vcc1v8_dvp>;*/
		/*dvdd-supply = <&vcc1v8_dvp>;*/

		/*reset-gpios = <&gpio3 RK_PB5 GPIO_ACTIVE_LOW>;*/
		pwdn-gpios = <&gpio4 RK_PA6 GPIO_ACTIVE_HIGH>;
		rockchip,camera-module-index = <0>;
		rockchip,camera-module-facing = "back";
		rockchip,camera-module-name = "CameraKing";
		rockchip,camera-module-lens-name = "Largan";
		port {
			gc2145_out: endpoint {
				remote-endpoint = <&dvp_in_bcam>;
			};
		};
	};
};

&sdmmc0 {
	//clock-frequency = <50000000>;
	max-frequency = <150000000>;
	supports-sd;
	bus-width = <4>;
	disable-wp;
	cap-mmc-highspeed;
	cap-sd-highspeed;	
	sd-uhs-sdr12;
	sd-uhs-sdr25;
	sd-uhs-sdr50;
	sd-uhs-sdr104;
	vqmmc-supply = <&vccio_sd>;
	pinctrl-names = "default";
	pinctrl-0 = <&sdmmc0_bus4 &sdmmc0_clk &sdmmc0_cmd &sdmmc0_det>;
	status = "okay";
};

&sdmmc1 {
	max-frequency = <150000000>;
	supports-sd;
	bus-width = <4>;
	disable-wp;
	cap-mmc-highspeed;
	cap-sd-highspeed;
	keep-power-in-suspend;	
//	mmc-pwrseq = <&sdio_pwrseq>;
//	non-removable;
	card-detect-delay = <800>;
	cd-gpios = <&gpio2 RK_PB2 GPIO_ACTIVE_LOW>; /*[> CD GPIO <]*/
	vqmmc-supply = <&vcc1v8_dvp>;	
	pinctrl-names = "default";
	pinctrl-0 = <&sdmmc1_bus4 &sdmmc1_cmd &sdmmc1_clk>;
	sd-uhs-sdr12;
	sd-uhs-sdr25;
	sd-uhs-sdr50;
	sd-uhs-sdr104;
//	rockchip,default-sample-phase = <90>;
	status = "okay";
};

&sdmmc2 {
	max-frequency = <100000000>;
	supports-sdio;
	bus-width = <4>;
	disable-wp;
	cap-sd-highspeed;
	cap-sdio-irq;
	keep-power-in-suspend;
	mmc-pwrseq = <&sdio_pwrseq>;
	non-removable;
	pinctrl-names = "default";
	pinctrl-0 = <&sdmmc2m0_bus4 &sdmmc2m0_cmd &sdmmc2m0_clk>;
	sd-uhs-sdr104;
	rockchip,default-sample-phase = <90>;
	status = "okay";
};

&spdif_8ch {
	status = "okay";
	pinctrl-names = "default";
	pinctrl-0 = <&spdifm1_tx>;
};

&uart1 {
	status = "okay";
	pinctrl-names = "default";
	pinctrl-0 = <&uart1m1_xfer &uart1m1_ctsn>;
};

&can0 {
	assigned-clocks = <&cru CLK_CAN0>;
	assigned-clock-rates = <150000000>;
	pinctrl-names = "default";
	pinctrl-0 = <&can0m1_pins>;
	status = "disabled";
};

&can1 {
	assigned-clocks = <&cru CLK_CAN1>;
	assigned-clock-rates = <150000000>;
	pinctrl-names = "default";
	pinctrl-0 = <&can1m1_pins>;
	status = "disabled";
};

&can2 {
	assigned-clocks = <&cru CLK_CAN2>;
	assigned-clock-rates = <150000000>;
	pinctrl-names = "default";
	pinctrl-0 = <&can2m1_pins>;
	status = "disabled";
};

&cpu0 {
	cpu-supply = <&vdd_cpu>;
};

&cpu1 {
	cpu-supply = <&vdd_cpu>;
};

&cpu2 {
	cpu-supply = <&vdd_cpu>;
};

&cpu3 {
	cpu-supply = <&vdd_cpu>;
};

&dfi {
	status = "okay";
};

&dmc {
	center-supply = <&vdd_logic>;
	status = "okay";
};

&iep {
	status = "okay";
};

&iep_mmu {
	status = "okay";
};

&jpegd {
	status = "okay";
};

&jpegd_mmu {
	status = "okay";
};

&mpp_srv {
	status = "okay";
};

&nandc0 {
	#address-cells = <1>;
	#size-cells = <0>;
	status = "okay";

	nand@0 {
		reg = <0>;
		nand-bus-width = <8>;
		nand-ecc-mode = "hw";
		nand-ecc-strength = <16>;
		nand-ecc-step-size = <1024>;
	};
};

&pmu_io_domains {
	status = "okay";
	pmuio1-supply = <&vcc3v3_pmu>;
	pmuio2-supply = <&vcc3v3_pmu>;
	vccio1-supply = <&vccio_acodec>;
	vccio3-supply = <&vccio_sd>;
	vccio4-supply = <&vcc_1v8>;
	vccio5-supply = <&vcc_3v3>;
	vccio6-supply = <&vcc_1v8>;
	vccio7-supply = <&vcc_3v3>;
};

&pwm4 {
	status = "okay";
};

&pwm5 {
	status = "okay";
};

&rk_rga {
	status = "okay";
};

&rkvdec {
	status = "okay";
};

&rkvdec_mmu {
	status = "okay";
};

&rkvenc {
	venc-supply = <&vdd_logic>;
	status = "okay";
};

&rkvenc_mmu {
	status = "okay";
};

&rknpu {
	rknpu-supply = <&vdd_gpu>;
	status = "okay";
};

&rknpu_mmu {
	status = "okay";
};

&route_hdmi {
	status = "okay";
	connect = <&vp1_out_hdmi>;
};

&saradc {
	status = "okay";
	vref-supply = <&vcc_1v8>;
};

&sdhci {
	bus-width = <8>;
	supports-emmc;
	non-removable;
	max-frequency = <200000000>;
	status = "okay";
};

&sfc {
	status = "okay";
};

&tsadc {
	status = "okay";
};

&u2phy0_host {
//	phy-supply = <&vcc5v0_host>;
	status = "okay";
};

&u2phy0_otg {
//	vbus-supply = <&vcc5v0_otg>;
	status = "okay";
};

&u2phy1_host {
//	phy-supply = <&vcc5v0_host>;
	status = "okay";
};

&u2phy1_otg {
//	phy-supply = <&vcc5v0_host>;
	status = "okay";
};

&usb2phy0 {
	status = "okay";
};

&usb2phy1 {
	status = "okay";
};

&usb_host0_ehci {
	status = "okay";
};

&usb_host0_ohci {
	status = "okay";
};

&usb_host1_ehci {
	status = "okay";
};

&usb_host1_ohci {
	status = "okay";
};

&usbdrd_dwc3 {
	dr_mode = "otg";
	extcon = <&usb2phy0>;
	status = "okay";
};

&usbdrd30 {
	status = "okay";
};

&usbhost_dwc3 {
	status = "okay";
};

&usbhost30 {
	status = "okay";
};

&vad {
	rockchip,audio-src = <&i2s1_8ch>;
	rockchip,buffer-time-ms = <128>;
	rockchip,det-channel = <0>;
	rockchip,mode = <0>;
};

&vdpu {
	status = "okay";
};

&vdpu_mmu {
	status = "okay";
};

&vepu {
	status = "okay";
};

&vepu_mmu {
	status = "okay";
};

&vop {
	status = "okay";
	assigned-clocks = <&cru DCLK_VOP0>, <&cru DCLK_VOP1>;
	assigned-clock-parents = <&pmucru PLL_HPLL>, <&cru PLL_VPLL>;
};

&vop_mmu {
	status = "okay";
};

&pinctrl {
	
	headphone {
		hp_det: hp-det {
			rockchip,pins = <4 RK_PC6 RK_FUNC_GPIO &pcfg_pull_none>;
		};
	};

	sdio-pwrseq {
		wifi_enable_h: wifi-enable-h {
			rockchip,pins = <4 RK_PA2 RK_FUNC_GPIO &pcfg_pull_none>;
		};
	};

	power-wlan-bt {
		vcc_wifi_h: vcc-wifi-h {
			rockchip,pins = <0 RK_PA0 RK_FUNC_GPIO &pcfg_pull_none>;
		};
	};
	
	wireless-wlan {
		wifi_host_wake_irq: wifi-host-wake-irq {
			rockchip,pins = <4 RK_PA1 RK_FUNC_GPIO &pcfg_pull_down>;
		};
	};

	wireless-bluetooth {
		uart1_gpios: uart1-gpios {
			rockchip,pins = <4 RK_PB6 RK_FUNC_GPIO &pcfg_pull_none>;
		};
	};

        gpio-leds {
		leds_gpio: leds-gpio {
			rockchip,pins =
				<0 RK_PC5 RK_FUNC_GPIO &pcfg_pull_none>,
				<0 RK_PC6 RK_FUNC_GPIO &pcfg_pull_none>,
				<0 RK_PC7 RK_FUNC_GPIO &pcfg_pull_none>;
		};
	};

	lcd0 {
		lcd0_rst_gpio: lcd0-rst-gpio {
			rockchip,pins = <4 RK_PA0 RK_FUNC_GPIO &pcfg_pull_none>;
		};
	};

	pmic {
		pmic_int: pmic_int {
			rockchip,pins =
				<0 RK_PA3 RK_FUNC_GPIO &pcfg_pull_up>;
		};

		soc_slppin_gpio: soc_slppin_gpio {
			rockchip,pins =
				<0 RK_PA2 RK_FUNC_GPIO &pcfg_output_low>;
		};

		soc_slppin_slp: soc_slppin_slp {
			rockchip,pins =
				<0 RK_PA2 1 &pcfg_pull_up>;
		};

		soc_slppin_rst: soc_slppin_rst {
			rockchip,pins =
				<0 RK_PA2 2 &pcfg_pull_none>;
		};
	};

	touch {
		touch_gpio: touch-gpio {
		   rockchip,pins = <4 RK_PA6 RK_FUNC_GPIO &pcfg_pull_up>;
		     
		};
		touch_gt_gpio: touch-gt-gpio {
		   rockchip,pins = <4 RK_PB1 RK_FUNC_GPIO &pcfg_pull_up>;    
		}; 
	};

	vcc-sd {
		vcc_sd_h: vcc-sd-h {
			rockchip,pins = <0 RK_PA5 RK_FUNC_GPIO &pcfg_pull_none>;
		};
	};

	btns {
		btn_pins: btn-pins {
			rockchip,pins = 
					<3 RK_PA0 RK_FUNC_GPIO &pcfg_pull_up>,
					<3 RK_PA1 RK_FUNC_GPIO &pcfg_pull_up>,
					<3 RK_PA2 RK_FUNC_GPIO &pcfg_pull_up>,
					<3 RK_PA3 RK_FUNC_GPIO &pcfg_pull_up>,
					<3 RK_PA4 RK_FUNC_GPIO &pcfg_pull_up>,
					<3 RK_PA5 RK_FUNC_GPIO &pcfg_pull_up>,
					<3 RK_PA6 RK_FUNC_GPIO &pcfg_pull_up>,
					<3 RK_PA0 RK_FUNC_GPIO &pcfg_pull_up>,
					<3 RK_PB1 RK_FUNC_GPIO &pcfg_pull_up>,
					<3 RK_PB2 RK_FUNC_GPIO &pcfg_pull_up>,
					<3 RK_PB3 RK_FUNC_GPIO &pcfg_pull_up>,
					<3 RK_PB4 RK_FUNC_GPIO &pcfg_pull_up>,
					<3 RK_PB5 RK_FUNC_GPIO &pcfg_pull_up>,
					<3 RK_PB6 RK_FUNC_GPIO &pcfg_pull_up>,
					<3 RK_PB7 RK_FUNC_GPIO &pcfg_pull_up>,
					<3 RK_PC0 RK_FUNC_GPIO &pcfg_pull_up>,
					<3 RK_PC1 RK_FUNC_GPIO &pcfg_pull_up>,
					<3 RK_PC2 RK_FUNC_GPIO &pcfg_pull_up>,
					//<4 RK_PA6 RK_FUNC_GPIO &pcfg_pull_up>,
					<3 RK_PC3 RK_FUNC_GPIO &pcfg_pull_up>;
		};
	};

	keys {
			pwr_key: pwr-key {
				rockchip,pins = 
					<3 RK_PB0 RK_FUNC_GPIO &pcfg_pull_up>,
					<3 RK_PA7 RK_FUNC_GPIO &pcfg_pull_up>;
			};
	};	
	
};
